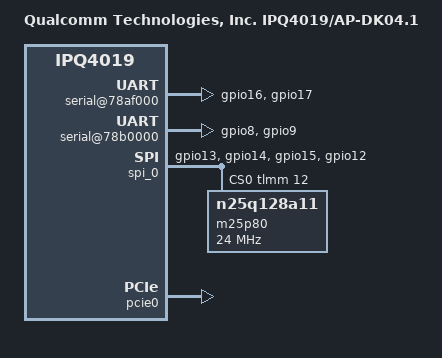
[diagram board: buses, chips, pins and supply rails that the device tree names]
/* Copyright (c) 2015 - 2016, The Linux Foundation. All rights reserved.
 *
 * Permission to use, copy, modify, and/or distribute this software for any
 * purpose with or without fee is hereby granted, provided that the above
 * copyright notice and this permission notice appear in all copies.
 *
 * THE SOFTWARE IS PROVIDED "AS IS" AND THE AUTHOR DISCLAIMS ALL WARRANTIES
 * WITH REGARD TO THIS SOFTWARE INCLUDING ALL IMPLIED WARRANTIES OF
 * MERCHANTABILITY AND FITNESS. IN NO EVENT SHALL THE AUTHOR BE LIABLE FOR
 * ANY SPECIAL, DIRECT, INDIRECT, OR CONSEQUENTIAL DAMAGES OR ANY DAMAGES
 * WHATSOEVER RESULTING FROM LOSS OF USE, DATA OR PROFITS, WHETHER IN AN
 * ACTION OF CONTRACT, NEGLIGENCE OR OTHER TORTIOUS ACTION, ARISING OUT OF
 * OR IN CONNECTION WITH THE USE OR PERFORMANCE OF THIS SOFTWARE.
 *
 */

#include "qca-ipq4019.dtsi"

/ {
	model = "Qualcomm Technologies, Inc. IPQ4019/AP-DK04.1";
	compatible = "qcom,ipq4019";

	soc {
		pinctrl@0x01000000 {
			serial_0_pins: serial0_pinmux {
				mux {
					pins = "gpio16", "gpio17";
					function = "blsp_uart0";
					bias-disable;
				};
			};

			serial_1_pins: serial1_pinmux {
				mux {
					pins = "gpio8", "gpio9";
					function = "blsp_uart1";
					bias-disable;
				};
			};

			uart1_pins: uart1_pinmux {
				mux {
					pins = "gpio8", "gpio9",
						"gpio10", "gpio11";
					function = "blsp_uart1";
					bias-disable;
				};
			};

			spi_0_pins: spi_0_pinmux {
				pinmux {
					function = "blsp_spi0";
					pins = "gpio13", "gpio14", "gpio15";
					drive-strength = <12>;
					bias-disable;
				};
				pinmux_cs {
					function = "gpio";
					pins = "gpio12";
					drive-strength = <2>;
					bias-disable;
					output-high;
				};
			};
		};

		serial@78af000 {
			pinctrl-0 = <&serial_0_pins>;
			pinctrl-names = "default";
			status = "ok";
		};

		serial@78b0000 {
			pinctrl-0 = <&serial_1_pins>;
			pinctrl-names = "default";
			status = "ok";
		};

		uart1:uart@78b0000 {
			pinctrl-0 = <&uart1_pins>;
			pinctrl-1 = <&uart1_pins>;
			pinctrl-names = "default", "sleep";
			status = "disabled";
		};

		spi_0: spi@78b5000 { /* BLSP1 QUP1 */
			pinctrl-0 = <&spi_0_pins>;
			pinctrl-names = "default";
			status = "ok";
			cs-gpios = <&tlmm 12 0>;

			m25p80@0 {
				#address-cells = <1>;
				#size-cells = <1>;
				reg = <0>;
				compatible = "n25q128a11";
				linux,modalias = "m25p80", "n25q128a11";
				spi-max-frequency = <24000000>;
				use-default-sizes;
			};
		};

		pcie0: pci@40000000 {
			status = "ok";
			perst-gpio = <&tlmm 38 0x1>;
		};
	};
};
